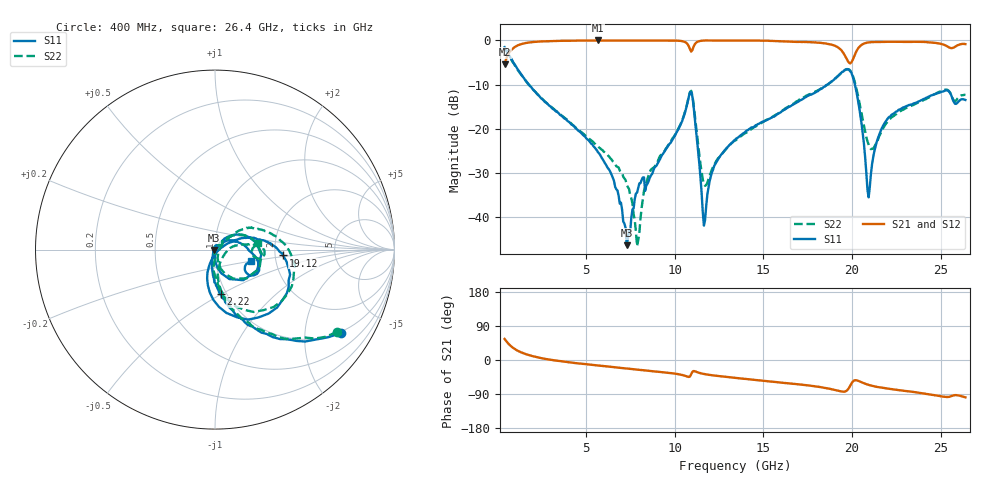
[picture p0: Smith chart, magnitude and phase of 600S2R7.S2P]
!  American Technical Ceramics  Date:  4/26/2005
!  One Norden Lane
!  Huntington Station,  NY.  11746-2102
!  Tel:  (631) 622-4700  Fax:  (631) 622-4748
!  Part Number  600S2R7  Mounting Orientation: Horizontal
!  Description: Ultra Low ESR Microwave capacitors
!  Application: Coupling, Bypass, Tuning, DC Block
!  Filters, Matching
# GHZ S DB R 50
! Freq  |S11|  S11 Ph  |S21|  S21 Ph  |S12|  S12 Ph  |S22|  S22 Ph
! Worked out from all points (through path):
!   401 points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, 400 MHz to 26.4 GHz, reference 50 ohm
!   highest |S21| = 0.00 dB at 5.665 GHz (marker M1); lowest = -5.4 dB at 400 MHz (marker M2)
!   group delay of S21, straight-line fit = 12.1 ps
!   lowest |S11| = -46.4 dB at 7.29 GHz (marker M3), VSWR 1.01, Z = 49.6 - j0.173 ohm
!   |S11| at or under -10 dB: 1.769 GHz to 18.62 GHz (16.85 GHz wide, 165 % of centre); 20.17 GHz to end of sweep
!   |S22| runs from -46.6 to -1.7 dB; largest |S21 - S12| = 0.016
!   S11 on the Smith chart (normalised r, x): 400 MHz: 0.96, -3.03; 2.22 GHz: 0.94, -0.49; 19.12 GHz: 2.21, -0.17; 26.4 GHz: 1.49, -0.20
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0.4  -1.51 -33.6  -5.37 55.6  -5.53 55.7  -1.72 -33.9
1.115  -6.41 -64.1  -1.16 25.2  -1.27 25.4  -6.51 -64.1
2.22  -12.08 -82.6  -0.29 7.4  -0.29 8.2  -12.01 -80.9
4.755  -21.10 -100.4  -0.02 -10.1  -0.01 -10.0  -20.85 -93.9
5.665  -25.29 -106.3  0.00 -14.8  -0.01 -14.8  -23.95 -92.3
6.445  -30.49 -114.4  -0.01 -18.6  -0.04 -18.6  -27.02 -90.6
7.29  -46.41 -158.5  -0.01 -22.5  -0.01 -22.3  -32.64 -92.7
7.94  -33.37 80.1  -0.01 -25.5  -0.01 -25.6  -45.24 154.6
8.395  -32.84 48.6  0.00 -27.7  -0.01 -27.8  -32.26 52.4
9.11  -27.30 53.7  0.00 -30.9  -0.01 -31.0  -26.66 50.6
10.93  -11.65 -26.8  -2.52 -37.5  -2.44 -37.6  -11.41 -22.9
11.71  -40.71 10.6  0.00 -37.5  0.00 -37.6  -32.92 -19.9
12.23  -28.35 45.1  -0.01 -41.0  -0.01 -41.2  -28.10 28.9
13.4  -22.52 39.1  -0.01 -47.0  -0.01 -47.0  -22.68 40.2
17.755  -12.15 13.0  -0.42 -68.5  -0.41 -68.8  -11.87 27.2
19.12  -8.39 -4.9  -1.37 -80.0  -1.42 -80.1  -8.40 6.0
19.64  -6.59 -31.4  -3.70 -82.5  -3.76 -82.5  -6.62 -20.6
20.095  -8.91 -79.8  -3.89 -54.9  -3.89 -54.9  -8.51 -63.7
20.94  -35.53 -36.0  -0.45 -65.7  -0.48 -65.6  -23.58 -55.6
21.46  -22.19 26.3  -0.35 -71.4  -0.38 -71.1  -22.58 0.2
22.11  -17.29 17.3  -0.31 -76.0  -0.31 -75.8  -17.94 11.1
26.4  -13.48 -17.6  -0.83 -98.6  -0.78 -98.5  -12.34 8.7
